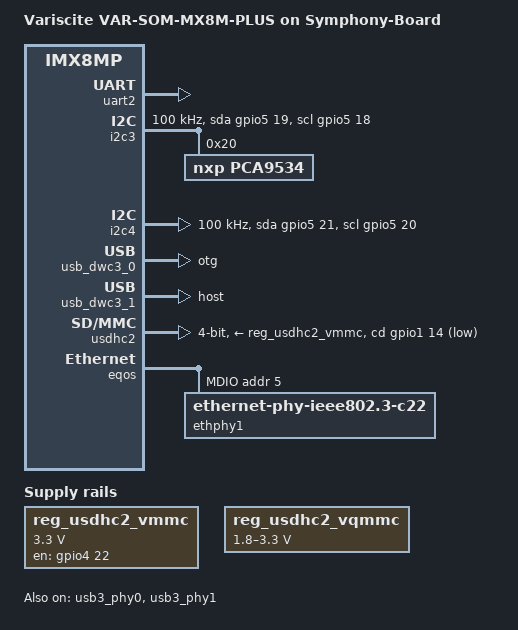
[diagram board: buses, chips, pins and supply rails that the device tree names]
// SPDX-License-Identifier: (GPL-2.0+ OR MIT)
/*
 * Copyright 2019 NXP
 * Copyright 2020-2021 Variscite Ltd.
 */

#include "imx8mp-var-som.dtsi"

/ {
	model = "Variscite VAR-SOM-MX8M-PLUS on Symphony-Board";

	chosen {
		stdout-path = &uart2;
	};

	aliases {
		gpio5 = &pca9534;
	};

	reg_usdhc2_vmmc: regulator-usdhc2-vmmc {
		compatible = "regulator-fixed";
		pinctrl-names = "default";
		pinctrl-0 = <&pinctrl_reg_usdhc2_vmmc>;
		regulator-name = "VSD_3V3";
		regulator-min-microvolt = <3300000>;
		regulator-max-microvolt = <3300000>;
		gpio = <&gpio4 22 GPIO_ACTIVE_HIGH>;
		enable-active-high;
		startup-delay-us = <100>;
		off-on-delay-us = <12000>;
	};

	reg_usdhc2_vqmmc: regulator-usdhc2-vqmmc {
		compatible = "regulator-gpio";
		pinctrl-names = "default";
		pinctrl-0 = <&pinctrl_reg_usdhc2_vqmmc>;
		regulator-name = "VSD_VSEL";
		regulator-min-microvolt = <1800000>;
		regulator-max-microvolt = <3300000>;
		gpios = <&gpio2 12 GPIO_ACTIVE_HIGH>;
		states = <3300000 0
			  1800000 1>;
	};
};

&uart2 {
	pinctrl-names = "default";
	pinctrl-0 = <&pinctrl_uart2>;
	status = "okay";
};

&i2c3 {
	clock-frequency = <100000>;
	pinctrl-names = "default", "gpio";
	pinctrl-0 = <&pinctrl_i2c3>;
	pinctrl-1 = <&pinctrl_i2c3_gpio>;
	scl-gpios = <&gpio5 18 GPIO_ACTIVE_HIGH>;
	sda-gpios = <&gpio5 19 GPIO_ACTIVE_HIGH>;
	status = "okay";

	/* GPIO expander */
	pca9534: gpio@20 {
		status = "okay";
		compatible = "nxp,pca9534";
		reg = <0x20>;
		gpio-controller;
		#gpio-cells = <2>;

		usb3_sel_hog {
			gpio-hog;
			gpio-hog-optional;
			gpios = <4 0>;
			output-low;
			line-name = "usb3_sel";
		};

		eth1_phy_rst_hog {
			gpio-hog;
			gpio-hog-optional;
			gpios = <5 0>;
			output-high;
			line-name = "eth1_phy_rst";
		};

		eth1_phy_vsel_hog {
			gpio-hog;
			gpio-hog-optional;
			gpios = <6 0>;
			output-high;
			line-name = "eth1_phy_vsel";
		};

		eth1_phy_pwr_hog {
			gpio-hog;
			gpio-hog-optional;
			gpios = <7 0>;
			output-high;
			line-name = "eth1_phy_pwr";
		};
	};
};

&i2c4 {
	clock-frequency = <100000>;
	pinctrl-names = "default", "gpio";
	pinctrl-0 = <&pinctrl_i2c4>;
	pinctrl-1 = <&pinctrl_i2c4_gpio>;
	scl-gpios = <&gpio5 20 GPIO_ACTIVE_HIGH>;
	sda-gpios = <&gpio5 21 GPIO_ACTIVE_HIGH>;
	status = "okay";
};

&usb3_phy0 {
	status = "okay";
};

&usb_dwc3_0 {
	dr_mode = "otg";
	hnp-disable;
	srp-disable;
	adp-disable;
	usb-role-switch;
	status = "okay";
};

&usb3_phy1 {
	status = "okay";
};

&usb_dwc3_1 {
	dr_mode = "host";
	status = "okay";
};

&usdhc2 {
	pinctrl-names = "default", "state_100mhz", "state_200mhz";
	pinctrl-0 = <&pinctrl_usdhc2>, <&pinctrl_usdhc2_gpio>;
	pinctrl-1 = <&pinctrl_usdhc2_100mhz>, <&pinctrl_usdhc2_gpio>;
	pinctrl-2 = <&pinctrl_usdhc2_200mhz>, <&pinctrl_usdhc2_gpio>;
	cd-gpios = <&gpio1 14 GPIO_ACTIVE_LOW>;
	vmmc-supply = <&reg_usdhc2_vmmc>;
	vqmmc-supply = <&reg_usdhc2_vqmmc>;
	bus-width = <4>;
	status = "okay";
};

&eqos {
	mdio {
		ethphy1: ethernet-phy@5 {
			compatible = "ethernet-phy-ieee802.3-c22";
			reg = <5>;
			at803x,eee-disabled;
			at803x,vddio-1p8v;
			eee-broken-1000t;
		};
	};
};

&fec {
	pinctrl-names = "default";
	pinctrl-0 = <&pinctrl_fec>;
	phy-mode = "rgmii";
	phy-handle = <&ethphy1>;
	status = "disabled";
};

&iomuxc {

	pinctrl_uart2: uart2grp {
		fsl,pins = <
			MX8MP_IOMUXC_UART2_RXD__UART2_DCE_RX				0x40
			MX8MP_IOMUXC_UART2_TXD__UART2_DCE_TX				0x40
		>;
	};

	pinctrl_i2c3: i2c3grp {
		fsl,pins = <
			MX8MP_IOMUXC_I2C3_SCL__I2C3_SCL					0x400001c2
			MX8MP_IOMUXC_I2C3_SDA__I2C3_SDA					0x400001c2
		>;
	};

	pinctrl_i2c4: i2c4grp {
		fsl,pins = <
			MX8MP_IOMUXC_I2C4_SCL__I2C4_SCL					0x400001c2
			MX8MP_IOMUXC_I2C4_SDA__I2C4_SDA					0x400001c2
		>;
	};

	pinctrl_i2c3_gpio: i2c3-gpiogrp {
		fsl,pins = <
			MX8MP_IOMUXC_I2C3_SCL__GPIO5_IO18				0x1c2
			MX8MP_IOMUXC_I2C3_SDA__GPIO5_IO19				0x1c2
		>;
	};

	pinctrl_i2c4_gpio: i2c4-gpiogrp {
		fsl,pins = <
			MX8MP_IOMUXC_I2C4_SCL__GPIO5_IO20				0x1c2
			MX8MP_IOMUXC_I2C4_SDA__GPIO5_IO21				0x1c2
		>;
	};

	pinctrl_reg_usdhc2_vmmc: usdhc2-vmmcreggrp {
		fsl,pins = <
			MX8MP_IOMUXC_SAI2_RXC__GPIO4_IO22				0x10
		>;
	};

	pinctrl_reg_usdhc2_vqmmc: usdhc2-vqmmcreggrp {
		fsl,pins = <
			MX8MP_IOMUXC_SD2_CD_B__GPIO2_IO12				0xc0
		>;
	};

	pinctrl_usdhc2: usdhc2grp {
		fsl,pins = <
			MX8MP_IOMUXC_SD2_CLK__USDHC2_CLK				0x190
			MX8MP_IOMUXC_SD2_CMD__USDHC2_CMD				0x1d0
			MX8MP_IOMUXC_SD2_DATA0__USDHC2_DATA0				0x1d0
			MX8MP_IOMUXC_SD2_DATA1__USDHC2_DATA1				0x1d0
			MX8MP_IOMUXC_SD2_DATA2__USDHC2_DATA2				0x1d0
			MX8MP_IOMUXC_SD2_DATA3__USDHC2_DATA3				0x1d0
		>;
	};

	pinctrl_usdhc2_100mhz: usdhc2-100mhzgrp {
		fsl,pins = <
			MX8MP_IOMUXC_SD2_CLK__USDHC2_CLK				0x194
			MX8MP_IOMUXC_SD2_CMD__USDHC2_CMD				0x1d4
			MX8MP_IOMUXC_SD2_DATA0__USDHC2_DATA0				0x1d4
			MX8MP_IOMUXC_SD2_DATA1__USDHC2_DATA1				0x1d4
			MX8MP_IOMUXC_SD2_DATA2__USDHC2_DATA2				0x1d4
			MX8MP_IOMUXC_SD2_DATA3__USDHC2_DATA3				0x1d4
		>;
	};

	pinctrl_usdhc2_200mhz: usdhc2-200mhzgrp {
		fsl,pins = <
			MX8MP_IOMUXC_SD2_CLK__USDHC2_CLK				0x196
			MX8MP_IOMUXC_SD2_CMD__USDHC2_CMD				0x1d6
			MX8MP_IOMUXC_SD2_DATA0__USDHC2_DATA0				0x1d6
			MX8MP_IOMUXC_SD2_DATA1__USDHC2_DATA1				0x1d6
			MX8MP_IOMUXC_SD2_DATA2__USDHC2_DATA2				0x1d6
			MX8MP_IOMUXC_SD2_DATA3__USDHC2_DATA3				0x1d6
		>;
	};

	pinctrl_usdhc2_gpio: usdhc2-gpiogrp {
		fsl,pins = <
			MX8MP_IOMUXC_GPIO1_IO14__GPIO1_IO14				0x1c4
		>;
	};

	pinctrl_fec: fecgrp {
		fsl,pins = <
			MX8MP_IOMUXC_SAI1_RXD4__ENET1_RGMII_RD0				0x90
			MX8MP_IOMUXC_SAI1_RXD5__ENET1_RGMII_RD1				0x90
			MX8MP_IOMUXC_SAI1_RXD6__ENET1_RGMII_RD2				0x90
			MX8MP_IOMUXC_SAI1_RXD7__ENET1_RGMII_RD3				0x90
			MX8MP_IOMUXC_SAI1_TXC__ENET1_RGMII_RXC				0x90
			MX8MP_IOMUXC_SAI1_TXFS__ENET1_RGMII_RX_CTL			0x90
			MX8MP_IOMUXC_SAI1_TXD0__ENET1_RGMII_TD0				0x16
			MX8MP_IOMUXC_SAI1_TXD1__ENET1_RGMII_TD1				0x16
			MX8MP_IOMUXC_SAI1_TXD2__ENET1_RGMII_TD2				0x16
			MX8MP_IOMUXC_SAI1_TXD3__ENET1_RGMII_TD3				0x16
			MX8MP_IOMUXC_SAI1_TXD4__ENET1_RGMII_TX_CTL			0x16
			MX8MP_IOMUXC_SAI1_TXD5__ENET1_RGMII_TXC				0x16
		>;
	};
};
